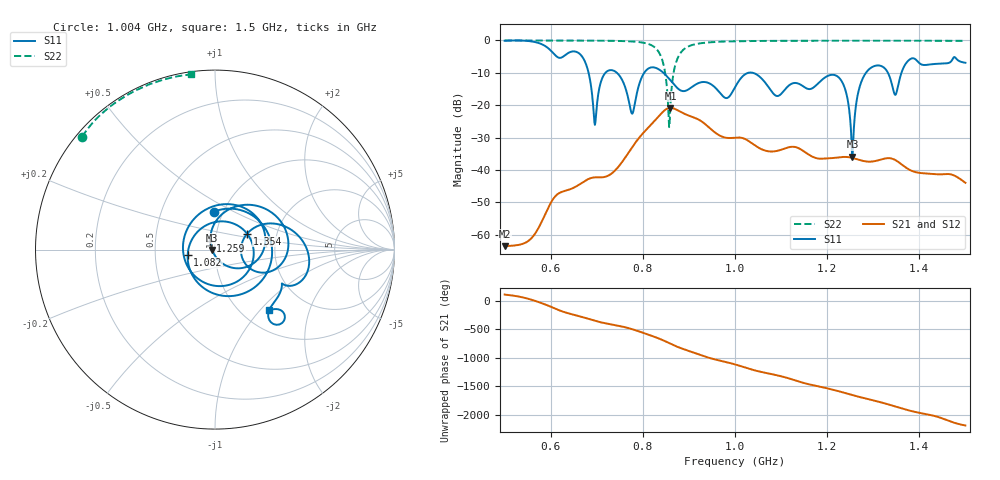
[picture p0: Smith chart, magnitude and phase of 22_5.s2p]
! TOUCHSTONE file generated by CST MICROWAVE STUDIO
! Date and time: Mon Nov 30 08:12:23 2020
! Project name: Scenario_1_Planar_Body_Tissue_Out_of_Line.cst
! Parameters = {dy1=17.3; L_HA=400; Ltissue=700; MT=2.54; Rad_Dielectric=30; Rad_Lower=7.3; Rad_Upper=30; Wtissue=700; a_HA=580; a_WG=246; b_HA=500; b_WG=121; c_HA=0; c_WG=187; d_feed=85; dx1=866; h_feed=15; h_lower=18; h_upper=40; hfat=3; hgap=25; hmuscle=50; hskin=1.5}
! Header version: 2018
! Port assignment regex: !\s*Touchstone port\s*([0-9]+)\s*=\s*(CST MWS port|CST DS port)\s*([0-9]+|Zmin|Zmax)\s*\(\"(.*)\"\)(\s*mode\s*([0-9]+))?.*
! Touchstone port assignment:
! Touchstone port 1 = CST MWS port 1 ("")
! Touchstone port 2 = CST MWS port 2 ("")
# GHz S DB R 50
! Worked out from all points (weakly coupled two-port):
!   1003 points, 500 MHz to 1.5 GHz, reference 50 ohm
!   highest |S21| = -20.81 dB at 860 MHz (marker M1); lowest = -63.5 dB at 500 MHz (marker M2)
!   lowest |S11| = -35.9 dB at 1.255 GHz (marker M3), VSWR 1.03, Z = 48.4 - j0.186 ohm
!   |S11| at or under -10 dB: 743.8 MHz to 802.9 MHz (59.14 MHz wide, 7.65 % of centre); 844.6 MHz to 1.029 GHz (184.1 MHz wide, 19.7 % of centre); 1.039 GHz to 1.284 GHz (245.5 MHz wide, 21.1 % of centre) (the widest 3 of 5)
!   |S22| runs from -26.8 to 0.0 dB; largest |S21 - S12| = 2.9e-05
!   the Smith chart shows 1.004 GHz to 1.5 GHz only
!   S11 on the Smith chart (normalised r, x): 1.004 GHz: 0.91, +0.40; 1.082 GHz: 0.73, -0.04; 1.259 GHz: 0.94, +0.09; 1.354 GHz: 1.41, +0.26; 1.5 GHz: 1.31, -1.12
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0.5  -0.10 -122.1  -63.50 107.0  -63.50 107.0  -0.01 151.2
0.573  -0.76 -166.0  -58.03 -22.3  -58.04 -22.3  -0.01 146.1
0.667  -4.75 120.8  -44.04 76.4  -44.04 76.4  -0.04 138.4
0.696  -26.07 -42.3  -42.26 7.3  -42.26 7.3  -0.06 135.3
0.723  -9.47 168.8  -41.86 -42.7  -41.86 -42.7  -0.10 131.9
0.777  -22.62 -36.3  -32.93 -140.0  -32.93 -140.0  -0.33 121.2
0.806  -9.41 161.1  -27.78 141.6  -27.78 141.6  -0.84 109.3
0.834  -8.87 70.5  -23.47 59.7  -23.47 59.7  -3.46 82.8
0.86  -12.31 -16.1  -20.81 -34.9  -20.81 -34.9  -19.53 -118.3
0.888  -15.65 -138.3  -22.50 -127.9  -22.50 -127.9  -2.86 177.9
1  -14.47 107.7  -30.01 -36.1  -30.01 -36.1  -0.26 140.1
1.004  -13.49 91.0  -29.96 -45.7  -29.96 -45.7  -0.25 139.6
1.082  -16.20 -169.2  -34.27 148.9  -34.28 148.9  -0.13 131.3
1.125  -13.25 -7.8  -32.81 58.6  -32.81 58.6  -0.11 127.6
1.167  -14.82 166.1  -35.81 -36.7  -35.81 -36.7  -0.10 124.2
1.227  -11.69 -5.9  -36.07 -150.4  -36.06 -150.4  -0.09 119.6
1.255  -35.90 -173.1  -36.28 145.8  -36.28 145.8  -0.08 117.5
1.259  -24.96 117.5  -36.43 136.9  -36.43 136.9  -0.08 117.1
1.284  -10.03 52.4  -37.34 85.3  -37.34 85.3  -0.08 115.3
1.334  -10.64 -25.9  -36.33 -20.0  -36.34 -20.1  -0.08 111.5
1.354  -13.94 26.4  -37.46 -69.2  -37.46 -69.2  -0.09 109.9
1.5  -6.89 -48.6  -43.95 -25.6  -43.95 -25.6  -0.13 97.9
